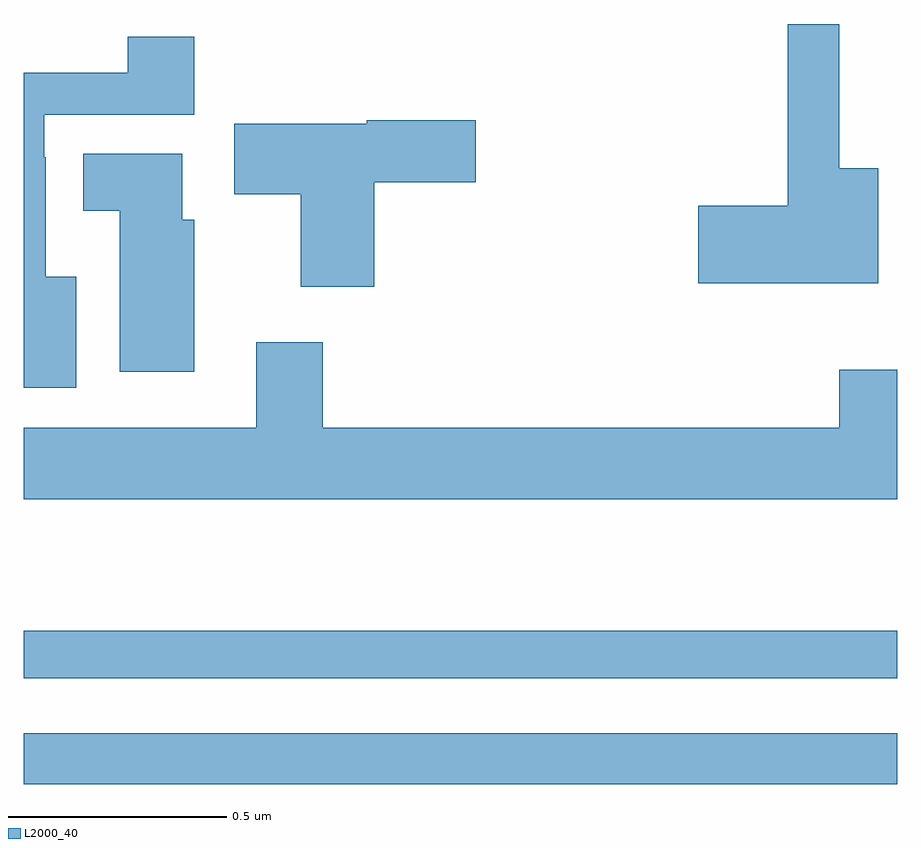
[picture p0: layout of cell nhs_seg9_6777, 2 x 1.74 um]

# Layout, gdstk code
import gdstk
lib = gdstk.Library(unit=1e-6, precision=1e-09)
def R(c, l, rs):  # rectangles x0, y0, x1, y1
    for r in rs: c.add(gdstk.rectangle(r[:2], r[2:], *l))
def P(c, l, *ps):  # polygons
    for p in ps: c.add(gdstk.Polygon(p, *l))
L2000_40 = (2000, 40)

nhs_seg9_6777 = lib.new_cell('nhs_seg9_6777')
R(nhs_seg9_6777, L2000_40, [(196,1203.76,198,1203.876), (196,1204.002,198,1204.111)])
P(nhs_seg9_6777, L2000_40, [(197.956,1205.17),(197.867,1205.17),(197.867,1205.5),(197.749,1205.5),(197.749,1205.084),(197.544,1205.084),(197.544,1204.906),(197.956,1204.906)],
  [(196.12,1204.921),(196.051,1204.921),(196.051,1205.195),(196.047,1205.195),(196.047,1205.292),(196.391,1205.292),(196.391,1205.471),(196.238,1205.471),(196.238,1205.388),(196,1205.388),(196,1204.667),(196.12,1204.667)],
  [(196.802,1205.138),(197.035,1205.138),(197.035,1205.28),(196.785,1205.28),(196.785,1205.272),(196.482,1205.272),(196.482,1205.11),(196.634,1205.11),(196.634,1204.899),(196.802,1204.899)],
  [(196.39,1205.052),(196.363,1205.052),(196.363,1205.203),(196.136,1205.203),(196.136,1205.072),(196.22,1205.072),(196.22,1204.704),(196.39,1204.704)],
  [(198,1204.708),(197.867,1204.708),(197.867,1204.576),(196.685,1204.576),(196.685,1204.771),(196.532,1204.771),(196.532,1204.576),(196,1204.576),(196,1204.412),(198,1204.412)])

lib.write_gds('nhs_seg9_6777.gds')
